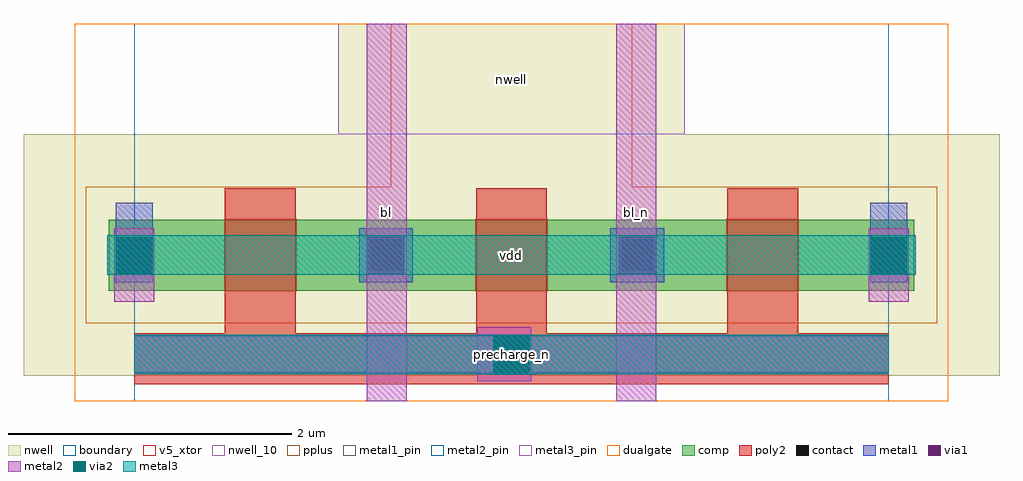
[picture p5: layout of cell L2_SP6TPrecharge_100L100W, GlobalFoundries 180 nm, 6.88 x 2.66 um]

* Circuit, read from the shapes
.subckt L2_SP6TPrecharge_100L100W bl bl_n nwell precharge_n vdd
XM1 bl precharge_n vdd nwell pfet_05v0 w=0.5u l=0.5u
XM2 bl_n precharge_n bl nwell pfet_05v0 w=0.5u l=0.5u
XM3 vdd precharge_n bl_n nwell pfet_05v0 w=0.5u l=0.5u
.ends

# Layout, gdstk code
import gdstk
lib = gdstk.Library(unit=1e-6, precision=1e-09)
def R(c, l, rs):  # rectangles x0, y0, x1, y1
    for r in rs: c.add(gdstk.rectangle(r[:2], r[2:], *l))
def A(c, l, x, y, w, h, nx, ny, dx, dy):  # array of equal rectangles
    R(c, l, [(x+i*dx, y+j*dy, x+i*dx+w, y+j*dy+h) for i in range(nx) for j in range(ny)])
def P(c, l, *ps):  # polygons
    for p in ps: c.add(gdstk.Polygon(p, *l))
boundary = (0, 0)
nwell = (21, 0)
nwell_10 = (21, 10)
comp = (22, 0)
poly2 = (30, 0)
pplus = (31, 0)
contact = (33, 0)
metal1 = (34, 0)
metal1_pin = (34, 10)
via1 = (35, 0)
metal2 = (36, 0)
metal2_pin = (36, 10)
via2 = (38, 0)
metal3 = (42, 0)
metal3_pin = (42, 10)
dualgate = (55, 0)
v5_xtor = (112, 1)

l2_sp6tprecharge_100l100 = lib.new_cell('L2_SP6TPrecharge_100L100W')
R(l2_sp6tprecharge_100l100, boundary, [(0,0,5.32,2.66)])
P(l2_sp6tprecharge_100l100, nwell, [(-0.78,0.18),(-0.78,1.88),(1.44,1.88),(1.44,2.66),(3.88,2.66),(3.88,1.88),(6.1,1.88),(6.1,0.18)])
R(l2_sp6tprecharge_100l100, nwell_10, [(1.44,1.88,3.88,2.66)])
R(l2_sp6tprecharge_100l100, comp, [(-0.18,0.78,5.5,1.28)])
P(l2_sp6tprecharge_100l100, poly2, [(0,0.12),(0,0.48),(0.64,0.48),(0.64,1.5),(1.14,1.5),(1.14,0.48),(2.41,0.48),(2.41,1.5),(2.91,1.5),(2.91,0.48),(4.18,0.48),(4.18,1.5),(4.68,1.5),(4.68,0.48),(5.32,0.48),(5.32,0.12)])
P(l2_sp6tprecharge_100l100, pplus, [(-0.34,0.55),(-0.34,1.51),(1.81,1.51),(1.81,2.66),(3.51,2.66),(3.51,1.51),(5.66,1.51),(5.66,0.55)])
R(l2_sp6tprecharge_100l100, contact, [(2.55,0.19,2.77,0.41), (-0.11,0.92,0.11,1.14), (1.665,0.92,1.885,1.14), (3.435,0.92,3.655,1.14), (5.21,0.92,5.43,1.14)])
R(l2_sp6tprecharge_100l100, metal1, [(-0.13,0.84,0.13,1.4), (1.585,0.84,1.965,1.22), (3.355,0.84,3.735,1.22), (5.19,0.84,5.45,1.4)])
P(l2_sp6tprecharge_100l100, metal1, [(2.49,0.185),(2.49,0.2),(0,0.2),(0,0.46),(5.32,0.46),(5.32,0.2),(2.83,0.2),(2.83,0.185)])
R(l2_sp6tprecharge_100l100, metal1_pin, [(0,0.2,5.32,0.46)])
R(l2_sp6tprecharge_100l100, via1, [(2.53,0.2,2.79,0.46), (-0.13,0.9,0.13,1.16), (1.645,0.9,1.905,1.16), (3.415,0.9,3.675,1.16), (5.19,0.9,5.45,1.16)])
R(l2_sp6tprecharge_100l100, metal2, [(2.42,0.14,2.8,0.52), (-0.14,0.7,0.14,1.22), (5.18,0.7,5.46,1.22)])
P(l2_sp6tprecharge_100l100, metal2, [(3.4,0),(3.4,2.66),(3.68,2.66),(3.68,1.22),(3.685,1.22),(3.685,0.84),(3.68,0.84),(3.68,0)],
  [(1.64,0),(1.64,0.84),(1.635,0.84),(1.635,1.22),(1.64,1.22),(1.64,2.66),(1.92,2.66),(1.92,0)])
R(l2_sp6tprecharge_100l100, metal2_pin, [(1.64,0,1.92,2.66), (3.4,0,3.68,2.66)])
R(l2_sp6tprecharge_100l100, via2, [(2.53,0.2,2.79,0.46), (-0.13,0.9,0.13,1.16), (5.19,0.9,5.45,1.16)])
R(l2_sp6tprecharge_100l100, metal3, [(0,0.19,5.32,0.47), (-0.19,0.89,5.51,1.17)])
R(l2_sp6tprecharge_100l100, metal3_pin, [(0,0.19,5.32,0.47), (-0.19,0.89,5.51,1.17)])
R(l2_sp6tprecharge_100l100, dualgate, [(-0.42,0,5.74,2.66)])
A(l2_sp6tprecharge_100l100, v5_xtor, 0.635, 0.775, 0.51, 0.51, 3, 1, 1.77, 0)
l2_sp6tprecharge_100l100.add(gdstk.Label('precharge_n', (2.66,0.33), layer=34, texttype=10))
l2_sp6tprecharge_100l100.add(gdstk.Label('nwell', (2.66,2.27), layer=21, texttype=10))
l2_sp6tprecharge_100l100.add(gdstk.Label('vdd', (2.66,1.03), layer=42, texttype=10))
l2_sp6tprecharge_100l100.add(gdstk.Label('precharge_n', (2.66,0.33), layer=42, texttype=10))
l2_sp6tprecharge_100l100.add(gdstk.Label('bl_n', (3.54,1.33), layer=36, texttype=10))
l2_sp6tprecharge_100l100.add(gdstk.Label('bl', (1.78,1.33), layer=36, texttype=10))

lib.write_gds('L2_SP6TPrecharge_100L100W.gds')
